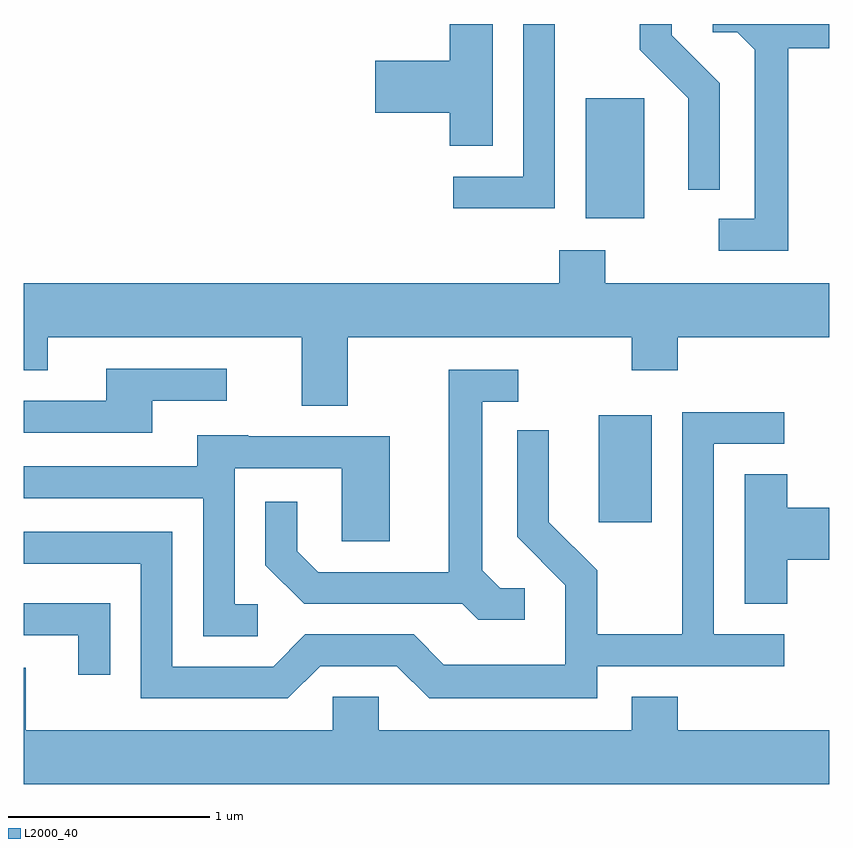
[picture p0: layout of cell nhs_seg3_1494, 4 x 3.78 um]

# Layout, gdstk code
import gdstk
lib = gdstk.Library(unit=1e-6, precision=1e-09)
def R(c, l, rs):  # rectangles x0, y0, x1, y1
    for r in rs: c.add(gdstk.rectangle(r[:2], r[2:], *l))
def P(c, l, *ps):  # polygons
    for p in ps: c.add(gdstk.Polygon(p, *l))
L2000_40 = (2000, 40)

nhs_seg3_1494 = lib.new_cell('nhs_seg3_1494')
R(nhs_seg3_1494, L2000_40, [(230.466,1249.416,230.729,1249.949), (230.401,1250.926,230.694,1251.524)])
P(nhs_seg3_1494, L2000_40, [(229.939,1251.892),(229.726,1251.892),(229.726,1251.709),(229.356,1251.709),(229.356,1251.451),(229.726,1251.451),(229.726,1251.286),(229.939,1251.286)],
  [(230.249,1251.892),(230.091,1251.892),(230.091,1251.134),(229.743,1251.134),(229.743,1250.976),(230.249,1250.976)],
  [(231.409,1251.771),(231.611,1251.771),(231.611,1251.892),(231.033,1251.892),(231.033,1251.851),(231.154,1251.851),(231.241,1251.764),(231.241,1250.924),(231.063,1250.924),(231.063,1250.766),(231.409,1250.766)],
  [(231.069,1251.597),(230.829,1251.837),(230.829,1251.892),(230.671,1251.892),(230.671,1251.764),(230.911,1251.524),(230.911,1251.068),(231.069,1251.068)],
  [(229.219,1250.336),(230.631,1250.336),(230.631,1250.171),(230.859,1250.171),(230.859,1250.336),(231.611,1250.336),(231.611,1250.604),(230.499,1250.604),(230.499,1250.769),(230.271,1250.769),(230.271,1250.604),(227.611,1250.604),(227.611,1250.171),(227.729,1250.171),(227.729,1250.336),(228.991,1250.336),(228.991,1249.996),(229.219,1249.996)],
  [(228.249,1250.021),(228.618,1250.021),(228.618,1250.179),(228.021,1250.179),(228.021,1250.019),(227.611,1250.019),(227.611,1249.861),(228.249,1249.861)],
  [(230.098,1249.089),(229.977,1249.089),(229.889,1249.177),(229.889,1250.016),(230.068,1250.016),(230.068,1250.174),(229.721,1250.174),(229.721,1249.169),(229.072,1249.169),(228.969,1249.272),(228.969,1249.518),(228.811,1249.518),(228.811,1249.204),(229.004,1249.011),(229.789,1249.011),(229.869,1248.931),(230.098,1248.931)],
  [(229.082,1248.701),(229.464,1248.701),(229.624,1248.541),(230.459,1248.541),(230.459,1248.701),(231.388,1248.701),(231.388,1248.859),(231.039,1248.859),(231.039,1249.806),(231.388,1249.806),(231.388,1249.964),(230.881,1249.964),(230.881,1248.859),(230.459,1248.859),(230.459,1249.177),(230.219,1249.417),(230.219,1249.873),(230.061,1249.873),(230.061,1249.344),(230.301,1249.104),(230.301,1248.709),(229.697,1248.709),(229.547,1248.859),(229.009,1248.859),(228.849,1248.699),(228.349,1248.699),(228.349,1249.369),(227.611,1249.369),(227.611,1249.211),(228.191,1249.211),(228.191,1248.541),(228.922,1248.541)],
  [(228.773,1249.009),(228.659,1249.009),(228.659,1249.686),(229.191,1249.686),(229.191,1249.321),(229.429,1249.321),(229.429,1249.844),(228.725,1249.844),(228.725,1249.849),(228.471,1249.849),(228.471,1249.694),(227.611,1249.694),(227.611,1249.536),(228.501,1249.536),(228.501,1248.851),(228.773,1248.851)],
  [(231.404,1249.231),(231.611,1249.231),(231.611,1249.489),(231.404,1249.489),(231.404,1249.654),(231.191,1249.654),(231.191,1249.011),(231.404,1249.011)],
  [(228.039,1249.014),(227.611,1249.014),(227.611,1248.856),(227.881,1248.856),(227.881,1248.658),(228.039,1248.658)],
  [(231.611,1248.384),(230.859,1248.384),(230.859,1248.549),(230.631,1248.549),(230.631,1248.384),(229.374,1248.384),(229.374,1248.549),(229.146,1248.549),(229.146,1248.384),(227.619,1248.384),(227.619,1248.694),(227.611,1248.694),(227.611,1248.116),(231.611,1248.116)])

lib.write_gds('nhs_seg3_1494.gds')
